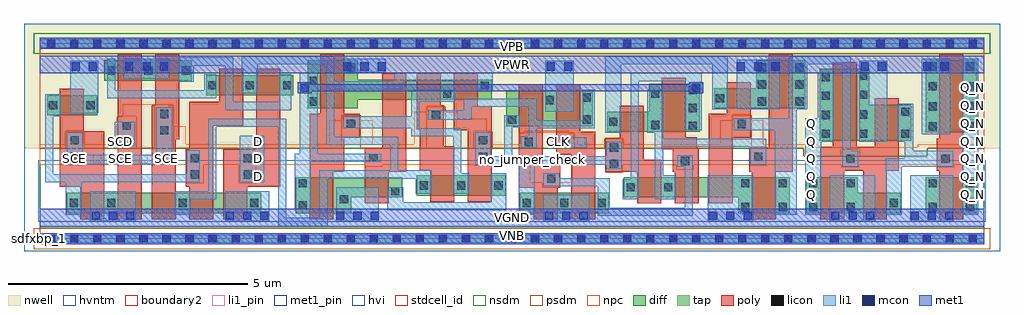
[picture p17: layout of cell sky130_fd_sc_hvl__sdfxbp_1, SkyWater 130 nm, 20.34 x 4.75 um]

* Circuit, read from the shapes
.subckt sky130_fd_sc_hvl__sdfxbp_1 CLK D Q Q_N SCD SCE VGND VNB VPB VPWR
XM1 VGND SCE n1 VNB sky130_fd_pr__nfet_g5v0d10v5 w=0.42 l=0.5
XM2 n2 SCD VGND VNB sky130_fd_pr__nfet_g5v0d10v5 w=0.42 l=0.5
XM3 n3 SCE n2 VNB sky130_fd_pr__nfet_g5v0d10v5 w=0.42 l=0.5
XM4 n4 n1 n3 VNB sky130_fd_pr__nfet_g5v0d10v5 w=0.42 l=0.5
XM5 VGND D n4 VNB sky130_fd_pr__nfet_g5v0d10v5 w=0.42 l=0.5
XM6 VGND n5 n6 VNB sky130_fd_pr__nfet_g5v0d10v5 w=0.75 l=0.5
XM7 n7 n6 VGND VNB sky130_fd_pr__nfet_g5v0d10v5 w=0.42 l=0.5
XM8 n5 n8 n3 VNB sky130_fd_pr__nfet_g5v0d10v5 w=0.42 l=0.5
XM9 n7 n9 n5 VNB sky130_fd_pr__nfet_g5v0d10v5 w=0.42 l=0.5
XM10 VGND n8 n9 VNB sky130_fd_pr__nfet_g5v0d10v5 w=0.42 l=0.5
XM11 n8 CLK VGND VNB sky130_fd_pr__nfet_g5v0d10v5 w=0.42 l=0.5
XM12 n10 n9 n6 VNB sky130_fd_pr__nfet_g5v0d10v5 w=0.42 l=0.5
XM13 n11 n8 n10 VNB sky130_fd_pr__nfet_g5v0d10v5 w=0.42 l=0.5
XM14 VGND n12 n11 VNB sky130_fd_pr__nfet_g5v0d10v5 w=0.42 l=0.5
XM15 n12 n10 VGND VNB sky130_fd_pr__nfet_g5v0d10v5 w=0.75 l=0.5
XM16 VGND n12 Q VNB sky130_fd_pr__nfet_g5v0d10v5 w=0.75 l=0.5
XM17 n13 n12 VGND VNB sky130_fd_pr__nfet_g5v0d10v5 w=0.42 l=0.5
XM18 Q_N n13 VGND VNB sky130_fd_pr__nfet_g5v0d10v5 w=0.75 l=0.5
XM19 VPWR SCE n1 VPB sky130_fd_pr__pfet_g5v0d10v5 w=0.42 l=0.5
XM20 VPWR SCD n14 VPB sky130_fd_pr__pfet_g5v0d10v5 w=0.42 l=0.5
XM21 n15 SCE VPWR VPB sky130_fd_pr__pfet_g5v0d10v5 w=0.42 l=0.5
XM22 n3 n1 n14 VPB sky130_fd_pr__pfet_g5v0d10v5 w=0.42 l=0.5
XM23 n15 D n3 VPB sky130_fd_pr__pfet_g5v0d10v5 w=0.42 l=0.5
XM24 VPWR n5 n6 VPB sky130_fd_pr__pfet_g5v0d10v5 w=1 l=0.5
XM25 n16 n6 VPWR VPB sky130_fd_pr__pfet_g5v0d10v5 w=0.42 l=0.5
XM26 n5 n8 n16 VPB sky130_fd_pr__pfet_g5v0d10v5 w=0.42 l=0.5
XM27 n3 n9 n5 VPB sky130_fd_pr__pfet_g5v0d10v5 w=0.42 l=0.5
XM28 VPWR n8 n9 VPB sky130_fd_pr__pfet_g5v0d10v5 w=0.75 l=0.5
XM29 n8 CLK VPWR VPB sky130_fd_pr__pfet_g5v0d10v5 w=0.75 l=0.5
XM30 n10 n9 n17 VPB sky130_fd_pr__pfet_g5v0d10v5 w=0.42 l=0.5
XM31 n6 n8 n10 VPB sky130_fd_pr__pfet_g5v0d10v5 w=1 l=0.5
XM32 VPWR n12 n17 VPB sky130_fd_pr__pfet_g5v0d10v5 w=0.42 l=0.5
XM33 n12 n10 VPWR VPB sky130_fd_pr__pfet_g5v0d10v5 w=1 l=0.5
XM34 VPWR n12 Q VPB sky130_fd_pr__pfet_g5v0d10v5 w=1.5 l=0.5
XM35 n13 n12 VPWR VPB sky130_fd_pr__pfet_g5v0d10v5 w=0.75 l=0.5
XM36 Q_N n13 VPWR VPB sky130_fd_pr__pfet_g5v0d10v5 w=1.5 l=0.5
.ends

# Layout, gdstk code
import gdstk
lib = gdstk.Library(unit=1e-6, precision=1e-09)
def R(c, l, rs):  # rectangles x0, y0, x1, y1
    for r in rs: c.add(gdstk.rectangle(r[:2], r[2:], *l))
def A(c, l, x, y, w, h, nx, ny, dx, dy):  # array of equal rectangles
    R(c, l, [(x+i*dx, y+j*dy, x+i*dx+w, y+j*dy+h) for i in range(nx) for j in range(ny)])
def P(c, l, *ps):  # polygons
    for p in ps: c.add(gdstk.Polygon(p, *l))
nwell = (64, 20)
diff = (65, 20)
tap = (65, 44)
poly = (66, 20)
licon = (66, 44)
li1_pin = (67, 16)
li1 = (67, 20)
mcon = (67, 44)
met1_pin = (68, 16)
met1 = (68, 20)
hvi = (75, 20)
stdcell_id = (81, 4)
nsdm = (93, 44)
psdm = (94, 20)
npc = (95, 20)
hvntm = (125, 20)
boundary2 = (236, 0)

sky130_fd_sc_hvl__sdfxbp = lib.new_cell('sky130_fd_sc_hvl__sdfxbp_1')
P(sky130_fd_sc_hvl__sdfxbp, nwell, [(20.01,4.485),(-0.33,4.485),(-0.33,1.885),(15.925,1.885),(15.925,1.715),(18.49,1.715),(18.49,1.885),(20.01,1.885)])
R(sky130_fd_sc_hvl__sdfxbp, diff, [(0.56,0.535,4.61,0.955), (10.005,0.535,11.855,0.955), (18.46,0.535,19.53,1.285), (7.855,0.9,9.705,1.32), (18.46,2.215,19.53,3.715), (9.715,2.34,11.525,3.09), (0.15,2.575,1.2,2.995), (3.47,2.99,5.28,3.41), (1.34,3.295,3.17,3.715)])
P(sky130_fd_sc_hvl__sdfxbp, diff, [(7.555,1.285),(5.335,1.285),(5.335,0.535),(6.485,0.535),(6.485,0.865),(7.555,0.865)],
  [(9.415,3.315),(6.63,3.315),(6.63,3.715),(5.58,3.715),(5.58,2.715),(6.63,2.715),(6.63,2.895),(9.415,2.895)],
  [(13.75,3.225),(12.7,3.225),(12.7,2.645),(11.825,2.645),(11.825,2.225),(13.75,2.225)],
  [(15.625,1.285),(12.17,1.285),(12.17,0.865),(14.555,0.865),(14.555,0.535),(15.625,0.535)],
  [(15.955,3.715),(14.925,3.715),(14.925,3.135),(14.05,3.135),(14.05,2.715),(15.955,2.715)],
  [(17.94,0.955),(17.045,0.955),(17.045,1.285),(15.975,1.285),(15.975,0.535),(17.94,0.535)],
  [(18.16,2.795),(17.285,2.795),(17.285,3.545),(16.255,3.545),(16.255,2.045),(18.16,2.045)])
R(sky130_fd_sc_hvl__sdfxbp, tap, [(0,-0.085,19.68,0.085), (0,3.985,19.68,4.155)])
R(sky130_fd_sc_hvl__sdfxbp, poly, [(1.625,0.405,2.125,3.845)])
P(sky130_fd_sc_hvl__sdfxbp, poly, [(1.345,2.24),(0.915,2.24),(0.915,3.125),(0.415,3.125),(0.415,1.085),(0.845,1.085),(0.845,0.405),(1.345,0.405)],
  [(2.905,3.845),(2.405,3.845),(2.405,2.785),(2.335,2.785),(2.335,0.405),(2.835,0.405),(2.835,2.075),(2.905,2.075)],
  [(4.235,3.54),(3.735,3.54),(3.735,2.86),(3.115,2.86),(3.115,1.865),(3.045,1.865),(3.045,1.085),(3.115,1.085),(3.115,0.405),(3.615,0.405),(3.615,2.36),(4.235,2.36)],
  [(5.015,3.54),(4.515,3.54),(4.515,1.865),(3.825,1.865),(3.825,0.405),(4.325,0.405),(4.325,1.085),(5.015,1.085)],
  [(6.67,2.605),(6.345,2.605),(6.345,3.845),(5.845,3.845),(5.845,2.605),(5.62,2.605),(5.62,0.405),(6.12,0.405),(6.12,1.395),(6.345,1.395),(6.345,2.105),(6.67,2.105)],
  [(7.64,3.445),(7.14,3.445),(7.14,1.895),(6.77,1.895),(6.77,0.735),(7.27,0.735),(7.27,1.395),(7.64,1.395)],
  [(8.64,1.93),(8.42,1.93),(8.42,2.785),(8.35,2.785),(8.35,3.445),(7.85,3.445),(7.85,2.285),(7.92,2.285),(7.92,1.43),(8.14,1.43),(8.14,0.77),(8.64,0.77)],
  [(9.42,2.765),(9.13,2.765),(9.13,3.445),(8.63,3.445),(8.63,2.265),(8.92,2.265),(8.92,0.77),(9.42,0.77)],
  [(10.845,1.545),(10.48,1.545),(10.48,3.22),(9.98,3.22),(9.98,1.065),(10.29,1.065),(10.29,0.405),(10.79,0.405),(10.79,1.065),(10.845,1.065)],
  [(11.57,2.23),(11.26,2.23),(11.26,3.22),(10.76,3.22),(10.76,1.755),(11.07,1.755),(11.07,0.405),(11.57,0.405)],
  [(12.955,1.65),(12.59,1.65),(12.59,2.775),(12.09,2.775),(12.09,2.095),(11.78,2.095),(11.78,1.395),(12.455,1.395),(12.455,0.735),(12.955,0.735)],
  [(13.735,1.895),(13.695,1.895),(13.695,2.115),(13.465,2.115),(13.465,3.355),(12.965,3.355),(12.965,1.86),(13.195,1.86),(13.195,1.395),(13.235,1.395),(13.235,0.735),(13.735,0.735)],
  [(14.815,3.265),(14.315,3.265),(14.315,2.605),(13.945,2.605),(13.945,0.735),(14.445,0.735),(14.445,2.105),(14.815,2.105)],
  [(15.69,3.845),(15.19,3.845),(15.19,1.895),(14.785,1.895),(14.785,1.395),(14.84,1.395),(14.84,0.405),(15.34,0.405),(15.34,1.395),(15.69,1.395)],
  [(17.895,2.925),(17.395,2.925),(17.395,1.915),(17.02,1.915),(17.02,3.675),(16.52,3.675),(16.52,1.915),(16.26,1.915),(16.26,0.405),(16.76,0.405),(16.76,1.415),(17.155,1.415),(17.155,0.405),(17.655,0.405),(17.655,1.415),(17.895,1.415)],
  [(19.245,3.845),(18.745,3.845),(18.745,2.085),(18.69,2.085),(18.69,1.415),(18.745,1.415),(18.745,0.405),(19.245,0.405)])
A(sky130_fd_sc_hvl__sdfxbp, licon, 0.155, -0.085, 0.17, 0.17, 41, 2, 0.48, 4.07)
A(sky130_fd_sc_hvl__sdfxbp, licon, 1.4, 0.66, 0.17, 0.17, 3, 1, 1.49, 0)
A(sky130_fd_sc_hvl__sdfxbp, licon, 10.065, 0.66, 0.17, 0.17, 3, 1, 0.78, 0)
A(sky130_fd_sc_hvl__sdfxbp, licon, 7.915, 1.025, 0.17, 0.17, 3, 1, 0.78, 0)
A(sky130_fd_sc_hvl__sdfxbp, licon, 13.52, 2.265, 0.17, 0.17, 1, 3, 0, 0.375)
A(sky130_fd_sc_hvl__sdfxbp, licon, 14.965, 2.775, 0.17, 0.17, 1, 3, 0, 0.355)
A(sky130_fd_sc_hvl__sdfxbp, licon, 15.745, 2.775, 0.17, 0.17, 1, 3, 0, 0.355)
A(sky130_fd_sc_hvl__sdfxbp, licon, 3.51, 3.115, 0.17, 0.17, 3, 1, 0.78, 0)
A(sky130_fd_sc_hvl__sdfxbp, licon, 1.4, 3.42, 0.17, 0.17, 3, 1, 0.78, 0)
R(sky130_fd_sc_hvl__sdfxbp, licon, [(14.615,0.575,14.785,0.745), (15.395,0.575,15.565,0.745), (16.035,0.575,16.205,0.745), (16.815,0.575,16.985,0.745), (18.52,0.575,18.69,0.745), (19.3,0.575,19.47,0.745), (5.395,0.615,5.565,0.785), (0.62,0.66,0.79,0.83), (17.71,0.66,17.88,0.83), (6.255,0.74,6.425,0.91), (7.325,0.905,7.495,1.075), (12.23,0.99,12.4,1.16), (13.01,0.99,13.18,1.16), (5.395,1.075,5.565,1.245), (14.615,1.075,14.785,1.245), (15.395,1.075,15.565,1.245), (16.035,1.075,16.205,1.245), (16.815,1.075,16.985,1.245), (18.52,1.075,18.69,1.245), (19.3,1.075,19.47,1.245), (10.575,1.165,10.745,1.335), (3.145,1.255,3.315,1.425), (4.245,1.255,4.415,1.425), (11.88,1.475,12.05,1.645), (13.36,1.535,13.53,1.705), (16.805,1.585,16.975,1.755), (18.79,1.585,18.96,1.755), (3.145,1.595,3.315,1.765), (4.245,1.595,4.415,1.765), (6.87,1.605,7.04,1.775), (9.15,1.625,9.32,1.795), (14.885,1.625,15.055,1.795), (0.645,1.63,0.815,1.8), (11.88,1.815,12.05,1.985), (10.86,1.925,11.03,2.095), (1.725,1.93,1.895,2.1), (10.105,1.93,10.275,2.1), (9.15,1.965,9.32,2.135), (0.645,1.97,0.815,2.14), (16.295,2.105,16.465,2.275), (17.075,2.105,17.245,2.275), (17.95,2.105,18.12,2.275), (2.505,2.175,2.675,2.345), (18.52,2.255,18.69,2.425), (19.3,2.255,19.47,2.425), (1.725,2.27,1.895,2.44), (12.74,2.285,12.91,2.455), (6.4,2.305,6.57,2.475), (14.545,2.305,14.715,2.475), (11.865,2.35,12.035,2.52), (9.755,2.4,9.925,2.57), (11.315,2.4,11.485,2.57), (8.17,2.485,8.34,2.655), (16.295,2.495,16.465,2.665), (17.075,2.505,17.245,2.675), (2.505,2.515,2.675,2.685), (17.95,2.565,18.12,2.735), (18.52,2.67,18.69,2.84), (19.3,2.67,19.47,2.84), (0.19,2.7,0.36,2.87), (0.97,2.7,1.14,2.87), (5.62,2.775,5.79,2.945), (10.535,2.805,10.705,2.975), (14.09,2.84,14.26,3.01), (11.315,2.86,11.485,3.03), (16.295,2.895,16.465,3.065), (17.075,2.915,17.245,3.085), (8.405,2.935,8.575,3.105), (12.74,2.935,12.91,3.105), (18.52,3.09,18.69,3.26), (19.3,3.09,19.47,3.26), (9.185,3.1,9.355,3.27), (5.62,3.205,5.79,3.375), (16.295,3.285,16.465,3.455), (17.075,3.315,17.245,3.485), (6.4,3.485,6.57,3.655), (18.52,3.505,18.69,3.675), (19.3,3.505,19.47,3.675)])
A(sky130_fd_sc_hvl__sdfxbp, li1_pin, 15.995, 0.84, 0.17, 0.17, 1, 5, 0, 0.37)
A(sky130_fd_sc_hvl__sdfxbp, li1_pin, 19.355, 0.84, 0.17, 0.17, 1, 7, 0, 0.37)
A(sky130_fd_sc_hvl__sdfxbp, li1_pin, 4.475, 1.21, 0.17, 0.17, 1, 3, 0, 0.37)
A(sky130_fd_sc_hvl__sdfxbp, li1_pin, 0.635, 1.58, 0.17, 0.17, 5, 1, 0.48, 0)
R(sky130_fd_sc_hvl__sdfxbp, li1_pin, [(1.595,1.95,1.765,2.12), (10.715,1.95,10.885,2.12), (11.195,1.95,11.365,2.12)])
R(sky130_fd_sc_hvl__sdfxbp, li1, [(0,-0.085,19.68,0.085), (1.05,0.365,2,0.995), (3.86,0.365,4.785,0.995), (6.175,0.365,7.065,1.075), (10.495,0.365,11.445,0.915), (13.915,0.365,14.865,1.325), (16.465,0.365,17.415,1.325), (18.14,0.365,19.04,1.325), (19.22,0.495,19.555,3.755), (4.165,1.175,4.675,2.15), (10.685,1.895,11.395,2.12), (1.565,1.93,1.975,2.44), (17.075,2.025,17.665,3.705), (18.38,2.175,18.97,3.755), (0.63,2.62,1.22,3.705), (10.535,2.65,11.125,3.705), (14.52,2.695,15.425,3.735), (1.75,3.335,2.7,3.755), (6.32,3.465,7.21,3.755), (0,3.985,19.68,4.155)])
P(sky130_fd_sc_hvl__sdfxbp, li1, [(2.755,2.745),(2.425,2.745),(2.425,1.75),(0.895,1.75),(0.895,2.22),(0.565,2.22),(0.565,1.55),(2.755,1.55)],
  [(3.33,1.845),(3.065,1.845),(3.065,1.345),(0.28,1.345),(0.28,2.555),(0.44,2.555),(0.44,3.015),(0.11,3.015),(0.11,1.175),(0.54,1.175),(0.54,0.495),(0.87,0.495),(0.87,1.175),(3.33,1.175)],
  [(3.68,3.43),(3.43,3.43),(3.43,3.095),(1.57,3.095),(1.57,3.755),(1.4,3.755),(1.4,2.925),(3.68,2.925)],
  [(5.24,3.43),(4.99,3.43),(4.99,2.85),(4.03,2.85),(4.03,3.78),(2.88,3.78),(2.88,3.275),(3.21,3.275),(3.21,3.61),(3.86,3.61),(3.86,2.68),(5.24,2.68)],
  [(7.12,1.775),(5.79,1.775),(5.79,3.455),(5.42,3.455),(5.42,1.775),(5.315,1.775),(5.315,0.615),(5.645,0.615),(5.645,1.605),(7.12,1.605)],
  [(8.945,1.36),(8.785,1.36),(8.785,2.305),(7.91,2.305),(7.91,2.855),(8.655,2.855),(8.655,3.105),(7.74,3.105),(7.74,2.555),(6.32,2.555),(6.32,2.305),(7.74,2.305),(7.74,2.135),(8.615,2.135),(8.615,0.94),(8.945,0.94)],
  [(9.435,3.455),(7.39,3.455),(7.39,3.285),(6.14,3.285),(6.14,3.805),(4.21,3.805),(4.21,3.03),(4.54,3.03),(4.54,3.635),(5.97,3.635),(5.97,1.955),(7.3,1.955),(7.3,1.425),(5.825,1.425),(5.825,0.435),(5.135,0.435),(5.135,2.5),(3.51,2.5),(3.51,0.995),(2.81,0.995),(2.81,0.495),(3.14,0.495),(3.14,0.825),(3.68,0.825),(3.68,2.33),(4.965,2.33),(4.965,0.265),(5.995,0.265),(5.995,1.255),(7.835,1.255),(7.835,0.94),(8.165,0.94),(8.165,1.425),(7.47,1.425),(7.47,2.125),(6.14,2.125),(6.14,3.115),(7.56,3.115),(7.56,3.285),(9.105,3.285),(9.105,3.1),(9.435,3.1)],
  [(9.725,1.36),(9.395,1.36),(9.395,0.76),(7.575,0.76),(7.575,1.075),(7.245,1.075),(7.245,0.59),(9.725,0.59)],
  [(11.565,3.11),(11.315,3.11),(11.315,2.47),(10.355,2.47),(10.355,2.92),(8.835,2.92),(8.835,2.675),(8.09,2.675),(8.09,2.485),(9.005,2.485),(9.005,2.75),(10.185,2.75),(10.185,2.14),(10.025,2.14),(10.025,1.895),(10.355,1.895),(10.355,2.3),(11.565,2.3)],
  [(12.13,2.025),(11.8,2.025),(11.8,1.715),(9.845,1.715),(9.845,2.32),(10.005,2.32),(10.005,2.57),(9.675,2.57),(9.675,1.715),(9.4,1.715),(9.4,2.215),(9.07,2.215),(9.07,1.545),(9.985,1.545),(9.985,0.495),(10.315,0.495),(10.315,1.545),(11.8,1.545),(11.8,1.445),(12.13,1.445)],
  [(13.61,1.735),(13.28,1.735),(13.28,1.505),(13.44,1.505),(13.44,0.645),(11.875,0.645),(11.875,1.265),(10.825,1.265),(10.825,1.365),(10.495,1.365),(10.495,1.095),(11.625,1.095),(11.625,0.475),(13.61,0.475)],
  [(13.795,3.455),(12.31,3.455),(12.31,1.245),(12.15,1.245),(12.15,0.825),(12.48,0.825),(12.48,3.285),(13.44,3.285),(13.44,2.265),(13.795,2.265)],
  [(14.34,3.805),(11.785,3.805),(11.785,2.205),(12.115,2.205),(12.115,3.635),(14.01,3.635),(14.01,2.695),(14.34,2.695)],
  [(15.135,2.085),(12.99,2.085),(12.99,3.105),(12.66,3.105),(12.66,2.205),(12.82,2.205),(12.82,0.825),(13.26,0.825),(13.26,1.325),(12.99,1.325),(12.99,1.915),(14.805,1.915),(14.805,1.545),(15.135,1.545)],
  [(16.545,3.455),(16.215,3.455),(16.215,2.515),(15.955,2.515),(15.955,0.495),(16.285,0.495),(16.285,2.025),(16.545,2.025)],
  [(17.055,1.835),(16.895,1.835),(16.895,3.805),(15.605,3.805),(15.605,2.515),(14.465,2.515),(14.465,2.265),(15.315,2.265),(15.315,0.495),(15.775,0.495),(15.775,2.695),(15.995,2.695),(15.995,3.635),(16.725,3.635),(16.725,1.505),(17.055,1.505)],
  [(19.04,1.835),(18.2,1.835),(18.2,2.815),(17.87,2.815),(17.87,2.025),(18.03,2.025),(18.03,1.675),(17.63,1.675),(17.63,0.495),(17.96,0.495),(17.96,1.505),(19.04,1.505)])
A(sky130_fd_sc_hvl__sdfxbp, mcon, 1.08, 0.395, 0.17, 0.17, 3, 1, 0.36, 0)
A(sky130_fd_sc_hvl__sdfxbp, mcon, 3.875, 0.395, 0.17, 0.17, 3, 1, 0.36, 0)
A(sky130_fd_sc_hvl__sdfxbp, mcon, 6.175, 0.395, 0.17, 0.17, 3, 1, 0.36, 0)
A(sky130_fd_sc_hvl__sdfxbp, mcon, 10.525, 0.395, 0.17, 0.17, 3, 1, 0.36, 0)
A(sky130_fd_sc_hvl__sdfxbp, mcon, 13.945, 0.395, 0.17, 0.17, 3, 1, 0.36, 0)
A(sky130_fd_sc_hvl__sdfxbp, mcon, 16.495, 0.395, 0.17, 0.17, 3, 1, 0.36, 0)
A(sky130_fd_sc_hvl__sdfxbp, mcon, 18.145, 0.395, 0.17, 0.17, 3, 1, 0.36, 0)
A(sky130_fd_sc_hvl__sdfxbp, mcon, 1.78, 3.505, 0.17, 0.17, 3, 1, 0.36, 0)
A(sky130_fd_sc_hvl__sdfxbp, mcon, 6.32, 3.505, 0.17, 0.17, 3, 1, 0.36, 0)
A(sky130_fd_sc_hvl__sdfxbp, mcon, 14.525, 3.505, 0.17, 0.17, 3, 1, 0.36, 0)
R(sky130_fd_sc_hvl__sdfxbp, mcon, [(0.155,-0.085,0.325,0.085), (0.155,-0.085,0.325,0.085), (0.635,-0.085,0.805,0.085), (0.635,-0.085,0.805,0.085), (1.115,-0.085,1.285,0.085), (1.115,-0.085,1.285,0.085), (1.595,-0.085,1.765,0.085), (1.595,-0.085,1.765,0.085), (2.075,-0.085,2.245,0.085), (2.075,-0.085,2.245,0.085), (2.555,-0.085,2.725,0.085), (2.555,-0.085,2.725,0.085), (3.035,-0.085,3.205,0.085), (3.035,-0.085,3.205,0.085), (3.515,-0.085,3.685,0.085), (3.515,-0.085,3.685,0.085), (3.995,-0.085,4.165,0.085), (3.995,-0.085,4.165,0.085), (4.475,-0.085,4.645,0.085), (4.475,-0.085,4.645,0.085), (4.955,-0.085,5.125,0.085), (4.955,-0.085,5.125,0.085), (5.435,-0.085,5.605,0.085), (5.435,-0.085,5.605,0.085), (5.915,-0.085,6.085,0.085), (5.915,-0.085,6.085,0.085), (6.395,-0.085,6.565,0.085), (6.395,-0.085,6.565,0.085), (6.875,-0.085,7.045,0.085), (6.875,-0.085,7.045,0.085), (7.355,-0.085,7.525,0.085), (7.355,-0.085,7.525,0.085), (7.835,-0.085,8.005,0.085), (7.835,-0.085,8.005,0.085), (8.315,-0.085,8.485,0.085), (8.315,-0.085,8.485,0.085), (8.795,-0.085,8.965,0.085), (8.795,-0.085,8.965,0.085), (9.275,-0.085,9.445,0.085), (9.275,-0.085,9.445,0.085), (9.755,-0.085,9.925,0.085), (9.755,-0.085,9.925,0.085), (10.235,-0.085,10.405,0.085), (10.235,-0.085,10.405,0.085), (10.715,-0.085,10.885,0.085), (10.715,-0.085,10.885,0.085), (11.195,-0.085,11.365,0.085), (11.195,-0.085,11.365,0.085), (11.675,-0.085,11.845,0.085), (11.675,-0.085,11.845,0.085), (12.155,-0.085,12.325,0.085), (12.155,-0.085,12.325,0.085), (12.635,-0.085,12.805,0.085), (12.635,-0.085,12.805,0.085), (13.115,-0.085,13.285,0.085), (13.115,-0.085,13.285,0.085), (13.595,-0.085,13.765,0.085), (13.595,-0.085,13.765,0.085), (14.075,-0.085,14.245,0.085), (14.075,-0.085,14.245,0.085), (14.555,-0.085,14.725,0.085), (14.555,-0.085,14.725,0.085), (15.035,-0.085,15.205,0.085), (15.035,-0.085,15.205,0.085), (15.515,-0.085,15.685,0.085), (15.515,-0.085,15.685,0.085), (15.995,-0.085,16.165,0.085), (15.995,-0.085,16.165,0.085), (16.475,-0.085,16.645,0.085), (16.475,-0.085,16.645,0.085), (16.955,-0.085,17.125,0.085), (16.955,-0.085,17.125,0.085), (17.435,-0.085,17.605,0.085), (17.435,-0.085,17.605,0.085), (17.915,-0.085,18.085,0.085), (17.915,-0.085,18.085,0.085), (18.395,-0.085,18.565,0.085), (18.395,-0.085,18.565,0.085), (18.875,-0.085,19.045,0.085), (18.875,-0.085,19.045,0.085), (19.355,-0.085,19.525,0.085), (19.355,-0.085,19.525,0.085), (5.435,3.06,5.605,3.23), (13.595,3.06,13.765,3.23), (0.66,3.505,0.83,3.675), (1.02,3.505,1.19,3.675), (10.565,3.505,10.735,3.675), (10.925,3.505,11.095,3.675), (17.105,3.505,17.275,3.675), (17.465,3.505,17.635,3.675), (18.41,3.505,18.58,3.675), (18.77,3.505,18.94,3.675), (0.155,3.985,0.325,4.155), (0.155,3.985,0.325,4.155), (0.635,3.985,0.805,4.155), (0.635,3.985,0.805,4.155), (1.115,3.985,1.285,4.155), (1.115,3.985,1.285,4.155), (1.595,3.985,1.765,4.155), (1.595,3.985,1.765,4.155), (2.075,3.985,2.245,4.155), (2.075,3.985,2.245,4.155), (2.555,3.985,2.725,4.155), (2.555,3.985,2.725,4.155), (3.035,3.985,3.205,4.155), (3.035,3.985,3.205,4.155), (3.515,3.985,3.685,4.155), (3.515,3.985,3.685,4.155), (3.995,3.985,4.165,4.155), (3.995,3.985,4.165,4.155), (4.475,3.985,4.645,4.155), (4.475,3.985,4.645,4.155), (4.955,3.985,5.125,4.155), (4.955,3.985,5.125,4.155), (5.435,3.985,5.605,4.155), (5.435,3.985,5.605,4.155), (5.915,3.985,6.085,4.155), (5.915,3.985,6.085,4.155), (6.395,3.985,6.565,4.155), (6.395,3.985,6.565,4.155), (6.875,3.985,7.045,4.155), (6.875,3.985,7.045,4.155), (7.355,3.985,7.525,4.155), (7.355,3.985,7.525,4.155), (7.835,3.985,8.005,4.155), (7.835,3.985,8.005,4.155), (8.315,3.985,8.485,4.155), (8.315,3.985,8.485,4.155), (8.795,3.985,8.965,4.155), (8.795,3.985,8.965,4.155), (9.275,3.985,9.445,4.155), (9.275,3.985,9.445,4.155), (9.755,3.985,9.925,4.155), (9.755,3.985,9.925,4.155), (10.235,3.985,10.405,4.155), (10.235,3.985,10.405,4.155), (10.715,3.985,10.885,4.155), (10.715,3.985,10.885,4.155), (11.195,3.985,11.365,4.155), (11.195,3.985,11.365,4.155), (11.675,3.985,11.845,4.155), (11.675,3.985,11.845,4.155), (12.155,3.985,12.325,4.155), (12.155,3.985,12.325,4.155), (12.635,3.985,12.805,4.155), (12.635,3.985,12.805,4.155), (13.115,3.985,13.285,4.155), (13.115,3.985,13.285,4.155), (13.595,3.985,13.765,4.155), (13.595,3.985,13.765,4.155), (14.075,3.985,14.245,4.155), (14.075,3.985,14.245,4.155), (14.555,3.985,14.725,4.155), (14.555,3.985,14.725,4.155), (15.035,3.985,15.205,4.155), (15.035,3.985,15.205,4.155), (15.515,3.985,15.685,4.155), (15.515,3.985,15.685,4.155), (15.995,3.985,16.165,4.155), (15.995,3.985,16.165,4.155), (16.475,3.985,16.645,4.155), (16.475,3.985,16.645,4.155), (16.955,3.985,17.125,4.155), (16.955,3.985,17.125,4.155), (17.435,3.985,17.605,4.155), (17.435,3.985,17.605,4.155), (17.915,3.985,18.085,4.155), (17.915,3.985,18.085,4.155), (18.395,3.985,18.565,4.155), (18.395,3.985,18.565,4.155), (18.875,3.985,19.045,4.155), (18.875,3.985,19.045,4.155), (19.355,3.985,19.525,4.155), (19.355,3.985,19.525,4.155)])
R(sky130_fd_sc_hvl__sdfxbp, met1_pin, [(0,0,19.68,0.115), (0,0.255,19.68,0.625), (0,3.445,19.68,3.815), (0,3.955,19.68,4.07)])
R(sky130_fd_sc_hvl__sdfxbp, met1, [(0,-0.115,19.68,0.115), (0,0.255,19.68,0.625), (0,3.445,19.68,3.815), (0,3.955,19.68,4.185)])
P(sky130_fd_sc_hvl__sdfxbp, met1, [(5.665,3.215),(13.535,3.215),(13.535,3.26),(13.825,3.26),(13.825,3.03),(13.535,3.03),(13.535,3.075),(5.665,3.075),(5.665,3.03),(5.375,3.03),(5.375,3.26),(5.665,3.26)])
R(sky130_fd_sc_hvl__sdfxbp, hvi, [(-0.33,-0.265,20.01,4.485)])
R(sky130_fd_sc_hvl__sdfxbp, stdcell_id, [(0,0,19.68,4.07)])
R(sky130_fd_sc_hvl__sdfxbp, nsdm, [(-0.13,3.855,19.81,4.285), (0,3.855,19.68,4.07)])
P(sky130_fd_sc_hvl__sdfxbp, nsdm, [(19.68,1.885),(18.49,1.885),(18.49,1.715),(15.925,1.715),(15.925,1.885),(0,1.885),(0,0.215),(19.68,0.215)])
R(sky130_fd_sc_hvl__sdfxbp, psdm, [(-0.13,-0.215,19.81,0.215)])
P(sky130_fd_sc_hvl__sdfxbp, psdm, [(19.68,3.855),(0,3.855),(0,1.885),(0.535,1.885),(0.535,2.25),(0.925,2.25),(0.925,1.885),(1.615,1.885),(1.615,2.55),(2.005,2.55),(2.005,1.885),(2.395,1.885),(2.395,2.795),(2.785,2.795),(2.785,1.885),(6.29,1.885),(6.29,2.585),(6.68,2.585),(6.68,1.885),(8.06,1.885),(8.06,2.765),(8.45,2.765),(8.45,1.885),(9.04,1.885),(9.04,2.245),(9.43,2.245),(9.43,1.885),(9.995,1.885),(9.995,2.21),(10.385,2.21),(10.385,2.205),(11.14,2.205),(11.14,1.885),(11.77,1.885),(11.77,2.095),(12.16,2.095),(12.16,1.885),(14.435,1.885),(14.435,2.585),(14.825,2.585),(14.825,1.905),(15.165,1.905),(15.165,1.885),(15.925,1.885),(15.925,1.715),(16.695,1.715),(16.695,1.865),(17.085,1.865),(17.085,1.715),(18.49,1.715),(18.49,1.885),(19.68,1.885)])
P(sky130_fd_sc_hvl__sdfxbp, npc, [(19.68,1.97),(18.3,1.97),(18.3,1.905),(16.115,1.905),(16.115,1.97),(15.08,1.97),(15.08,2.47),(14.815,2.47),(14.815,2.575),(14.445,2.575),(14.445,2.47),(14.18,2.47),(14.18,1.97),(12.15,1.97),(12.15,2.085),(11.78,2.085),(11.78,1.97),(11.13,1.97),(11.13,2.195),(11.025,2.195),(11.025,2.25),(10.11,2.25),(10.11,2.2),(10.005,2.2),(10.005,1.97),(9.42,1.97),(9.42,2.235),(9.315,2.235),(9.315,2.5),(8.705,2.5),(8.705,2.65),(8.44,2.65),(8.44,2.755),(8.07,2.755),(8.07,2.65),(7.805,2.65),(7.805,1.97),(6.935,1.97),(6.935,2.47),(6.67,2.47),(6.67,2.575),(6.3,2.575),(6.3,2.47),(6.035,2.47),(6.035,1.97),(3.04,1.97),(3.04,2.34),(2.775,2.34),(2.775,2.785),(2.67,2.785),(2.67,2.805),(1.73,2.805),(1.73,2.54),(1.625,2.54),(1.625,1.97),(0.915,1.97),(0.915,2.24),(0.545,2.24),(0.545,1.97),(0,1.97),(0,1.545),(0.545,1.545),(0.545,1.53),(0.915,1.53),(0.915,1.545),(3.045,1.545),(3.045,1.155),(3.415,1.155),(3.415,1.545),(4.145,1.545),(4.145,1.155),(4.515,1.155),(4.515,1.545),(6.77,1.545),(6.77,1.505),(7.14,1.505),(7.14,1.545),(9.05,1.545),(9.05,1.525),(9.42,1.525),(9.42,1.545),(10.21,1.545),(10.21,1.17),(10.475,1.17),(10.475,1.065),(10.845,1.065),(10.845,1.17),(11.11,1.17),(11.11,1.545),(11.78,1.545),(11.78,1.375),(12.15,1.375),(12.15,1.545),(13.26,1.545),(13.26,1.435),(13.63,1.435),(13.63,1.545),(14.785,1.545),(14.785,1.525),(15.155,1.525),(15.155,1.545),(16.705,1.545),(16.705,1.485),(17.075,1.485),(17.075,1.545),(18.69,1.545),(18.69,1.485),(19.06,1.485),(19.06,1.545),(19.68,1.545)])
R(sky130_fd_sc_hvl__sdfxbp, hvntm, [(-0.035,0.35,19.715,1.64)])
R(sky130_fd_sc_hvl__sdfxbp, boundary2, [(0,0,19.68,4.07)])
sky130_fd_sc_hvl__sdfxbp.add(gdstk.Label('no_jumper_check', (10.275,1.66), layer=83, texttype=44))
sky130_fd_sc_hvl__sdfxbp.add(gdstk.Label('sdfxbp_1', (0,0), layer=83, texttype=44))
sky130_fd_sc_hvl__sdfxbp.add(gdstk.Label('VGND', (9.84,0.44), layer=68, texttype=5))
sky130_fd_sc_hvl__sdfxbp.add(gdstk.Label('VNB', (9.84,0.058), layer=68, texttype=5))
sky130_fd_sc_hvl__sdfxbp.add(gdstk.Label('VPWR', (9.84,3.63), layer=68, texttype=5))
sky130_fd_sc_hvl__sdfxbp.add(gdstk.Label('VPB', (9.84,4.013), layer=68, texttype=5))
sky130_fd_sc_hvl__sdfxbp.add(gdstk.Label('D', (4.56,1.295), layer=67, texttype=5))
sky130_fd_sc_hvl__sdfxbp.add(gdstk.Label('D', (4.56,1.665), layer=67, texttype=5))
sky130_fd_sc_hvl__sdfxbp.add(gdstk.Label('D', (4.56,2.035), layer=67, texttype=5))
sky130_fd_sc_hvl__sdfxbp.add(gdstk.Label('SCD', (1.68,2.035), layer=67, texttype=5))
sky130_fd_sc_hvl__sdfxbp.add(gdstk.Label('SCE', (0.72,1.665), layer=67, texttype=5))
sky130_fd_sc_hvl__sdfxbp.add(gdstk.Label('SCE', (1.2,1.665), layer=67, texttype=5))
sky130_fd_sc_hvl__sdfxbp.add(gdstk.Label('SCE', (1.68,1.665), layer=67, texttype=5))
sky130_fd_sc_hvl__sdfxbp.add(gdstk.Label('SCE', (2.16,1.665), layer=67, texttype=5))
sky130_fd_sc_hvl__sdfxbp.add(gdstk.Label('SCE', (2.64,1.665), layer=67, texttype=5))
sky130_fd_sc_hvl__sdfxbp.add(gdstk.Label('CLK', (10.8,2.035), layer=67, texttype=5))
sky130_fd_sc_hvl__sdfxbp.add(gdstk.Label('CLK', (11.28,2.035), layer=67, texttype=5))
sky130_fd_sc_hvl__sdfxbp.add(gdstk.Label('Q', (16.08,0.925), layer=67, texttype=5))
sky130_fd_sc_hvl__sdfxbp.add(gdstk.Label('Q', (16.08,1.295), layer=67, texttype=5))
sky130_fd_sc_hvl__sdfxbp.add(gdstk.Label('Q', (16.08,1.665), layer=67, texttype=5))
sky130_fd_sc_hvl__sdfxbp.add(gdstk.Label('Q', (16.08,2.035), layer=67, texttype=5))
sky130_fd_sc_hvl__sdfxbp.add(gdstk.Label('Q', (16.08,2.405), layer=67, texttype=5))
sky130_fd_sc_hvl__sdfxbp.add(gdstk.Label('Q_N', (19.44,0.925), layer=67, texttype=5))
sky130_fd_sc_hvl__sdfxbp.add(gdstk.Label('Q_N', (19.44,1.295), layer=67, texttype=5))
sky130_fd_sc_hvl__sdfxbp.add(gdstk.Label('Q_N', (19.44,1.665), layer=67, texttype=5))
sky130_fd_sc_hvl__sdfxbp.add(gdstk.Label('Q_N', (19.44,2.035), layer=67, texttype=5))
sky130_fd_sc_hvl__sdfxbp.add(gdstk.Label('Q_N', (19.44,2.405), layer=67, texttype=5))
sky130_fd_sc_hvl__sdfxbp.add(gdstk.Label('Q_N', (19.44,2.775), layer=67, texttype=5))
sky130_fd_sc_hvl__sdfxbp.add(gdstk.Label('Q_N', (19.44,3.145), layer=67, texttype=5))

lib.write_gds('sky130_fd_sc_hvl__sdfxbp_1.gds')
